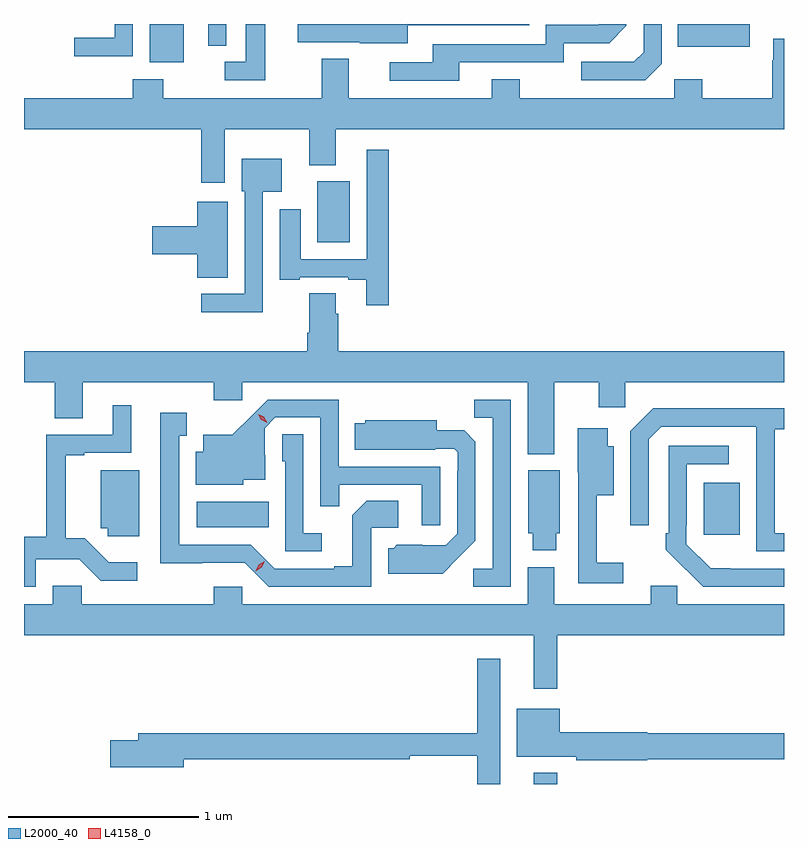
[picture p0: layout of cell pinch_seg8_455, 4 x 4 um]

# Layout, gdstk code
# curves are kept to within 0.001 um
import gdstk
lib = gdstk.Library(unit=1e-6, precision=1e-09)
def R(c, l, rs):  # rectangles x0, y0, x1, y1
    for r in rs: c.add(gdstk.rectangle(r[:2], r[2:], *l))
def P(c, l, *ps):  # polygons
    for p in ps: c.add(gdstk.Polygon(p, *l))
L2000_40 = (2000, 40)
L4158_0 = (4158, 0)

pinch_seg8_455 = lib.new_cell('pinch_seg8_455')
R(pinch_seg8_455, L2000_40, [(197.759,1122.378,197.881,1122.436), (198.653,1123.689,198.841,1123.963), (195.984,1123.73,196.364,1123.864), (196.619,1125.23,196.789,1125.55), (195.737,1126.178,195.916,1126.378), (198.517,1126.259,198.895,1126.378), (196.044,1126.264,196.14,1126.378)])
P(pinch_seg8_455, L2000_40, [(196.345,1126.378),(196.241,1126.378),(196.241,1126.179),(196.131,1126.179),(196.131,1126.083),(196.345,1126.083)],
  [(195.648,1126.378),(195.552,1126.378),(195.552,1126.305),(195.339,1126.305),(195.339,1126.207),(195.648,1126.207)],
  [(198.432,1126.17),(198.432,1126.378),(198.336,1126.378),(198.336,1126.23),(198.285,1126.179),(198.009,1126.179),(198.009,1126.083),(198.345,1126.083)],
  [(197.365,1126.176),(197.916,1126.176),(197.916,1126.278),(198.156,1126.278),(198.246,1126.368),(198.246,1126.378),(198.1,1126.378),(198.097,1126.375),(197.82,1126.375),(197.82,1126.272),(197.225,1126.272),(197.225,1126.176),(197.001,1126.176),(197.001,1126.08),(197.365,1126.08)],
  [(197.095,1126.371),(197.735,1126.371),(197.735,1126.378),(196.98,1126.378),(196.98,1126.377),(196.662,1126.377),(196.662,1126.378),(196.517,1126.378),(196.517,1126.281),(196.841,1126.281),(196.841,1126.277),(197.095,1126.277)],
  [(196.132,1125.824),(196.577,1125.824),(196.577,1125.635),(196.717,1125.635),(196.717,1125.824),(199.075,1125.824),(199.075,1126.3),(199.019,1126.3),(199.019,1126.187),(199.012,1126.187),(199.012,1125.988),(198.645,1125.988),(198.645,1126.087),(198.498,1126.087),(198.498,1125.988),(197.685,1125.988),(197.685,1126.087),(197.537,1126.087),(197.537,1125.988),(196.783,1125.988),(196.783,1126.196),(196.643,1126.196),(196.643,1125.988),(195.807,1125.988),(195.807,1126.087),(195.647,1126.087),(195.647,1125.988),(195.075,1125.988),(195.075,1125.824),(196.007,1125.824),(196.007,1125.543),(196.132,1125.543)],
  [(196.994,1125.715),(196.878,1125.715),(196.878,1125.141),(196.531,1125.141),(196.531,1125.403),(196.421,1125.403),(196.421,1125.033),(196.525,1125.033),(196.525,1125.045),(196.781,1125.045),(196.781,1125.033),(196.877,1125.033),(196.877,1124.898),(196.994,1124.898)],
  [(196.332,1125.494),(196.432,1125.494),(196.432,1125.67),(196.22,1125.67),(196.22,1125.498),(196.236,1125.498),(196.236,1124.958),(196.008,1124.958),(196.008,1124.861),(196.332,1124.861)],
  [(196.147,1125.442),(195.986,1125.442),(195.986,1125.314),(195.75,1125.314),(195.75,1125.167),(195.986,1125.167),(195.986,1125.043),(196.147,1125.043)],
  [(197.866,1124.492),(198.101,1124.492),(198.101,1124.361),(198.24,1124.361),(198.24,1124.492),(199.075,1124.492),(199.075,1124.656),(196.73,1124.656),(196.73,1124.852),(196.717,1124.852),(196.717,1124.96),(196.577,1124.96),(196.577,1124.752),(196.565,1124.752),(196.565,1124.656),(195.075,1124.656),(195.075,1124.492),(195.238,1124.492),(195.238,1124.302),(195.385,1124.302),(195.385,1124.492),(196.073,1124.492),(196.073,1124.397),(196.224,1124.397),(196.224,1124.492),(197.726,1124.492),(197.726,1124.114),(197.866,1124.114)],
  [(197.265,1124.049),(196.731,1124.049),(196.731,1124.4),(196.358,1124.4),(196.171,1124.215),(196.019,1124.215),(196.019,1124.128),(195.98,1124.128),(195.98,1123.952),(196.23,1123.952),(196.23,1123.979),(196.345,1123.979),(196.345,1124.108),(196.341,1124.108),(196.341,1124.25),(196.398,1124.307),(196.635,1124.307),(196.635,1123.84),(196.733,1123.84),(196.733,1123.953),(197.169,1123.953),(197.169,1123.74),(197.265,1123.74)],
  [(197.637,1124.4),(197.446,1124.4),(197.446,1124.305),(197.541,1124.305),(197.541,1123.512),(197.439,1123.512),(197.439,1123.416),(197.637,1123.416)],
  [(195.138,1123.562),(195.367,1123.562),(195.48,1123.449),(195.67,1123.449),(195.67,1123.546),(195.521,1123.546),(195.395,1123.672),(195.296,1123.672),(195.296,1124.109),(195.391,1124.109),(195.391,1124.121),(195.64,1124.121),(195.64,1124.371),(195.542,1124.371),(195.542,1124.217),(195.193,1124.217),(195.193,1123.679),(195.075,1123.679),(195.075,1123.416),(195.138,1123.416)],
  [(199.075,1123.698),(199.026,1123.698),(199.026,1124.246),(199.075,1124.246),(199.075,1124.356),(198.388,1124.356),(198.267,1124.235),(198.267,1123.74),(198.363,1123.74),(198.363,1124.193),(198.429,1124.259),(198.929,1124.259),(198.93,1123.602),(199.075,1123.602)],
  [(196.902,1123.728),(197.044,1123.728),(197.044,1123.868),(196.879,1123.868),(196.803,1123.792),(196.803,1123.525),(196.709,1123.525),(196.709,1123.512),(196.395,1123.512),(196.269,1123.638),(195.892,1123.638),(195.892,1124.211),(195.931,1124.211),(195.931,1124.332),(195.791,1124.332),(195.791,1123.541),(196.236,1123.542),(196.362,1123.416),(196.902,1123.416)],
  [(197.359,1123.565),(197.451,1123.658),(197.451,1124.18),(197.392,1124.239),(197.248,1124.239),(197.248,1124.293),(196.872,1124.293),(196.872,1124.278),(196.816,1124.278),(196.816,1124.138),(197.24,1124.138),(197.24,1124.142),(197.34,1124.142),(197.358,1124.124),(197.358,1124.024),(197.355,1124.024),(197.355,1123.695),(197.295,1123.635),(197.038,1123.636),(197.022,1123.62),(196.991,1123.62),(196.991,1123.484),(197.279,1123.484)],
  [(198.229,1123.543),(198.089,1123.543),(198.089,1123.898),(198.178,1123.898),(198.178,1124.155),(198.148,1124.155),(198.148,1124.251),(197.99,1124.251),(197.99,1124.019),(197.991,1124.019),(197.991,1123.434),(198.229,1123.434)],
  [(196.642,1123.699),(196.545,1123.699),(196.545,1124.219),(196.434,1124.219),(196.434,1124.076),(196.449,1124.076),(196.449,1123.602),(196.642,1123.602)],
  [(199.075,1123.512),(198.69,1123.513),(198.561,1123.641),(198.561,1123.741),(198.564,1123.741),(198.564,1124.061),(198.784,1124.061),(198.784,1124.157),(198.468,1124.157),(198.468,1123.699),(198.453,1123.699),(198.453,1123.611),(198.65,1123.416),(199.075,1123.416)],
  [(195.682,1124.029),(195.479,1124.029),(195.479,1123.724),(195.516,1123.724),(195.516,1123.682),(195.682,1123.682)],
  [(197.875,1123.698),(197.896,1123.698),(197.896,1124.029),(197.729,1124.029),(197.729,1123.698),(197.753,1123.698),(197.753,1123.607),(197.875,1123.607)],
  [(197.881,1123.16),(199.075,1123.16),(199.075,1123.324),(198.513,1123.324),(198.513,1123.422),(198.374,1123.422),(198.374,1123.324),(197.866,1123.324),(197.866,1123.519),(197.726,1123.519),(197.726,1123.324),(196.224,1123.324),(196.224,1123.417),(196.073,1123.417),(196.073,1123.324),(195.379,1123.324),(195.379,1123.422),(195.227,1123.422),(195.227,1123.324),(195.075,1123.324),(195.075,1123.16),(197.759,1123.16),(197.759,1122.879),(197.881,1122.879)],
  [(197.581,1123.036),(197.46,1123.036),(197.46,1122.644),(195.677,1122.644),(195.677,1122.608),(195.528,1122.608),(195.528,1122.466),(195.916,1122.466),(195.916,1122.508),(197.105,1122.508),(197.105,1122.527),(197.46,1122.527),(197.46,1122.378),(197.581,1122.378)],
  [(198.354,1122.508),(199.075,1122.508),(199.075,1122.644),(198.354,1122.644),(198.354,1122.65),(197.896,1122.65),(197.896,1122.775),(197.669,1122.775),(197.669,1122.521),(197.982,1122.521),(197.982,1122.503),(198.354,1122.503)])
P(pinch_seg8_455, L4158_0, [(196.355,1124.28),(196.324,1124.295),(196.307,1124.325),(196.307,1124.325),(196.307,1124.325),(196.338,1124.31),(196.355,1124.28),(196.355,1124.28)],
  [(196.294,1123.498),(196.294,1123.499),(196.311,1123.532),(196.343,1123.551),(196.343,1123.551),(196.343,1123.55),(196.326,1123.518),(196.294,1123.498)])

lib.write_gds('pinch_seg8_455.gds')
